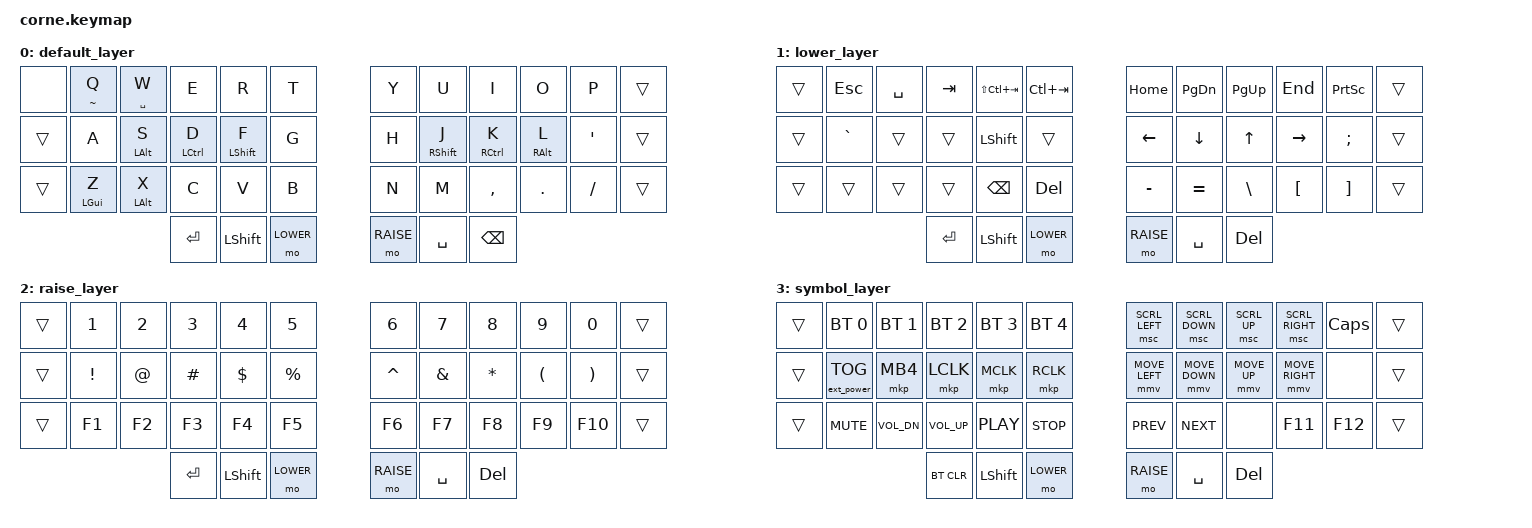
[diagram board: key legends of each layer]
/*
 * Copyright (c) 2020 The ZMK Contributors
 *
 * SPDX-License-Identifier: MIT
 */

#include <behaviors.dtsi>
#include <dt-bindings/zmk/bt.h>
#include <dt-bindings/zmk/ext_power.h>
#include <dt-bindings/zmk/keys.h>
#include <dt-bindings/zmk/pointing.h>

#define ZMK_POINTING_DEFAULT_MOVE_VAL 800  // default: 600
#define ZMK_POINTING_DEFAULT_SCRL_VAL 10    // default: 10
#define DEFAULT 0
#define LOWER   1
#define RAISE   2
#define SYMBOL  3

/ {
    behaviors {
        hm: homerow_mods {
            compatible = "zmk,behavior-hold-tap";
            #binding-cells = <2>;
            tapping-term-ms = <250>;
            quick-tap-ms = <0>;
            flavor = "tap-preferred";
            bindings = <&kp>, <&kp>;
        };
    };

    conditional_layers {
        compatible = "zmk,conditional-layers";

        tri_layer {
            if-layers = <1 2>;
            then-layer = <3>;
        };
    };

    macros {
        Copy: Copy {
            compatible = "zmk,behavior-macro";
            #binding-cells = <0>;
            bindings = <&kp LA(LS(TAB))>, <&macro_press>;

            label = "COPY";
        };
    };

    combos { compatible = "zmk,combos"; };

    keymap {
        compatible = "zmk,keymap";

        default_layer {
            // -----------------------------------------------------------------------------------------
            // |      |  Q  |  W  |  E  |  R  |  T  |   |  Y  |  U   |  I  |  O  |  P  | BSPC |
            // |      |  A  |  /S  |  CTRL/D  |  F  |  G  |   |  H  |  J   |  K  |  L  |  ;  |  '   |
            // |      |GUI/Z|  alt/X  |  C  |  V  |  B  |   |  N  |  M   |  ,  |  .  |  /  | ESC  |
            //                    | GUI | LWR | SPC |   | ENT | RSE  | ALT |

            bindings = <
&none   &hm TILDE Q  &hm SPACE W  &kp E        &kp R         &kp T        &kp Y      &kp U         &kp I        &kp O       &kp P     &trans
&trans  &kp A        &hm LALT S   &hm LCTRL D  &hm LSHIFT F  &kp G        &kp H      &hm RSHIFT J  &hm RCTRL K  &hm RALT L  &kp SQT   &trans
&trans  &hm LGUI Z   &hm LALT X   &kp C        &kp V         &kp B        &kp N      &kp M         &kp COMMA    &kp DOT     &kp FSLH  &trans
                                  &kp ENTER    &kp LSHIFT    &mo LOWER    &mo RAISE  &kp SPACE     &kp BSPC
            >;
        };

        lower_layer {
            // -----------------------------------------------------------------------------------------
            // |  TAB |  1  |  2  |  3  |  LT |  GT |   |  6  |  7  |  8  |  9  |  0  | BSPC |
            // | BTCLR|  A  |  S  | CTRL|SHIFT|     |   | LFT | DWN |  UP | RGT |     |      |
            // | SHFT |     |     |     |     |     |   |     |     |     |     |     |      |
            //                    | GUI |     | SPC |   | ENT |     | ALT |

            bindings = <
&trans  &kp ESC    &kp SPACE  &kp TAB    &kp LS(LC(TAB))  &kp LC(TAB)    &kp HOME   &kp PG_DN  &kp PG_UP   &kp END    &kp PSCRN  &trans
&trans  &kp GRAVE  &trans     &trans     &kp LSHIFT       &trans         &kp LEFT   &kp DOWN   &kp UP      &kp RIGHT  &kp SEMI   &trans
&trans  &trans     &trans     &trans     &kp BACKSPACE    &kp DELETE     &kp MINUS  &kp EQUAL  &kp BSLH    &kp LBKT   &kp RBKT   &trans
                              &kp ENTER  &kp LSHIFT       &mo LOWER      &mo RAISE  &kp SPACE  &kp DELETE
            >;
        };

        raise_layer {
            // -----------------------------------------------------------------------------------------
            // |  TAB |  1  |  2  |  3  |  4  |  5  |   |  6  |  7  |  8  |  9  |  0  | BSPC |
            // | CTRL |  !  |  @  |  #  |  $  |  %  |   |  ^  |  &  |  *  |  (  |  )  | BSPC |
            // | SHFT | F1  |  F2 | F3  | F4  | F5  |   | F6  | F7  | F8  | F9  | F10 j| BSPC |
            //                    | GUI |     | SPC |   | ENT |     | ALT |

            bindings = <
&trans  &kp N1    &kp N2  &kp N3     &kp N4      &kp N5       &kp N6     &kp N7     &kp N8      &kp N9    &kp N0    &trans
&trans  &kp EXCL  &kp AT  &kp HASH   &kp DLLR    &kp PRCNT    &kp CARET  &kp AMPS   &kp ASTRK   &kp LPAR  &kp RPAR  &trans
&trans  &kp F1    &kp F2  &kp F3     &kp F4      &kp F5       &kp F6     &kp F7     &kp F8      &kp F9    &kp F10   &trans
                          &kp ENTER  &kp LSHIFT  &mo LOWER    &mo RAISE  &kp SPACE  &kp DELETE
            >;
        };

        symbol_layer {
            // -----------------------------------------------------------------------------------------
            // |  TAB | `    | REW  | FF   |STOP |PLAY |   |     |     |     |     |     | BSPC |
            // | CTRL |EP_TOG|EP_ON |EP_OFF|     |BTCLR|   | BT1 | BT2 | BT3 | BT4 | BT5 |      |
            // | SHFT |MUTE  |VOL D |VOL U |RWND |NEXT |   | F11 | F12 | "|" |  [  |  ]  |  ~   |
            //                    | GUI |     | SPC |   | ENT |     | ALT |

            bindings = <
&trans  &bt BT_SEL 0       &bt BT_SEL 1  &bt BT_SEL 2  &bt BT_SEL 3  &bt BT_SEL 4    &msc SCRL_LEFT  &msc SCRL_DOWN  &msc SCRL_UP  &msc SCRL_RIGHT  &kp CAPSLOCK  &trans
&trans  &ext_power EP_TOG  &mkp MB4      &mkp LCLK     &mkp MCLK     &mkp RCLK       &mmv MOVE_LEFT  &mmv MOVE_DOWN  &mmv MOVE_UP  &mmv MOVE_RIGHT  &none         &trans
&trans  &kp C_MUTE         &kp C_VOL_DN  &kp C_VOL_UP  &kp C_PLAY    &kp C_STOP      &kp C_PREV      &kp C_NEXT      &none         &kp F11          &kp F12       &trans
                                         &bt BT_CLR    &kp LSHIFT    &mo LOWER       &mo RAISE       &kp SPACE       &kp DELETE
            >;
        };
    };
};
